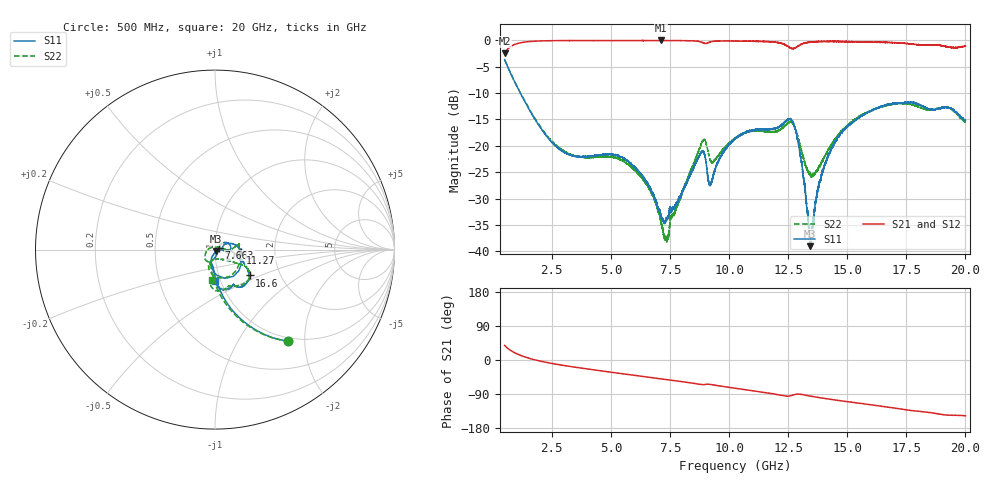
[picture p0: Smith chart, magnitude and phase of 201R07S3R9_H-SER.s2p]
!{201R07S3R9}
!Johanson Technology Inc.
!www.johansontechnology.com
!Test Board Conditions:
!Substrate Type  RO4350B
!Substrate Thickness  10 mil
!Substrate Dk  3.66
!TL Type: GCPW
!TL Trace Width  21 mil
!TL Gap  20 mil
!Electrode orientation  Horizontal
!DUT TOPOLOGY	SERIES
!Mounting Pad LxW  16x21 mil
!Agilent Technologies,N5230A,MY45001966,A.07.50.67
!Agilent N5230A: A.07.50.67
!Created Mon Mar  9 15:07:59 2020
# mhz S ma R 50
! 2 Port Network Data from SP1.SP block
! freq  magS11  angS11  magS21  angS21  magS12  angS12  magS22  angS22
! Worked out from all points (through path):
!   19501 points, 500 MHz to 20 GHz, reference 50 ohm
!   highest |S21| = -0.03 dB at 7.116 GHz (marker M1); lowest = -2.5 dB at 500 MHz (marker M2)
!   group delay of S21, straight-line fit = 22.9 ps
!   lowest |S11| = -39.0 dB at 13.42 GHz (marker M3), VSWR 1.02, Z = 50.5 - j1.02 ohm
!   |S11| at or under -10 dB: 1.164 GHz to end of sweep
!   |S22| runs from -38.3 to -3.7 dB; largest |S21 - S12| = 0.015
!   S11 on the Smith chart (normalised r, x): 500 MHz: 0.94, -1.68; 7.663 GHz: 1.05, +0.02; 11.27 GHz: 1.33, -0.04; 16.6 GHz: 1.40, -0.43; 20 GHz: 0.94, -0.34
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500  0.6549 -51.3  0.7498 38.3  0.7521 38.3  0.6552 -51.3
1437  0.2442 -81.7  0.9668 6.6  0.9662 6.6  0.2476 -84.1
2583  0.1033 -95.5  0.992 -10.0  0.9915 -10.0  0.1059 -101.8
3750  0.0786 -107.4  0.9929 -21.5  0.9928 -21.5  0.07796 -112.4
5641  0.07285 -108.2  0.993 -37.6  0.9936 -37.5  0.06833 -145.2
7000  0.0258 -63.6  0.9952 -48.8  0.9952 -48.9  0.02367 154.5
7116  0.02184 -48.9  0.9961 -49.8  0.9945 -49.9  0.01902 142.4
7343  0.02022 -5.1  0.9947 -51.7  0.9945 -51.7  0.01315 86.5
7663  0.02491 26.9  0.9935 -54.3  0.9935 -54.3  0.02234 35.1
8883  0.08884 10.9  0.9491 -65.0  0.9501 -65.1  0.1118 -14.5
9213  0.04306 13.4  0.9646 -64.4  0.9638 -64.4  0.07283 -27.4
10250  0.1174 13.3  0.9832 -74.4  0.9828 -74.3  0.1185 8.2
11268  0.1432 -6.3  0.9759 -83.6  0.9756 -83.4  0.1376 13.1
12687  0.1706 -68.5  0.8345 -92.9  0.8381 -93.1  0.1637 -74.4
13010  0.08135 -105.7  0.9082 -90.4  0.9054 -90.5  0.09944 -110.9
13424  0.01117 -64.2  0.9573 -95.1  0.9617 -95.0  0.05434 -93.3
13500  0.01462 -27.9  0.9653 -96.0  0.9641 -95.9  0.05219 -86.0
13871  0.04656 0.3  0.9734 -99.5  0.9775 -100.1  0.06614 -53.2
14525  0.1116 -11.0  0.973 -106.0  0.9743 -106.1  0.1182 -34.9
16599  0.2405 -36.9  0.9522 -123.4  0.9489 -123.4  0.2376 -36.2
16750  0.2451 -38.5  0.9555 -124.5  0.9467 -124.8  0.2427 -37.7
20000  0.1742 -89.4  0.8778 -147.2  0.8789 -147.1  0.1675 -95.9
